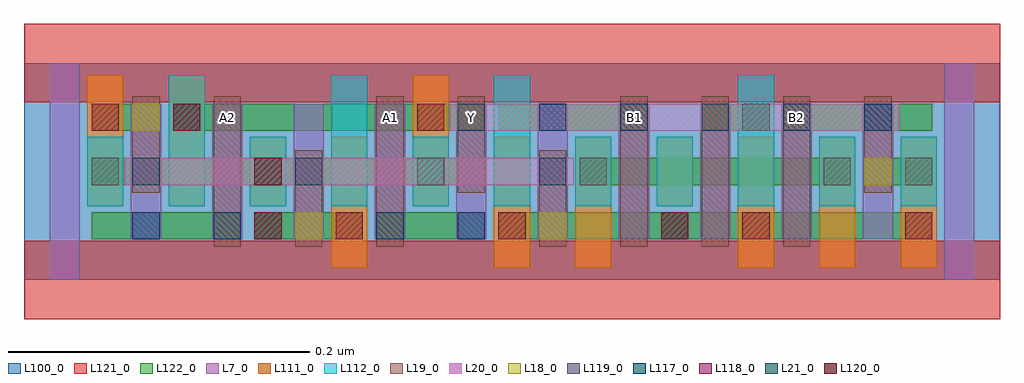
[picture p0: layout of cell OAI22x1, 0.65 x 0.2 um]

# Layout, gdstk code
import gdstk
lib = gdstk.Library(unit=1e-6, precision=2.5e-10)
def R(c, l, rs):  # rectangles x0, y0, x1, y1
    for r in rs: c.add(gdstk.rectangle(r[:2], r[2:], *l))
def A(c, l, x, y, w, h, nx, ny, dx, dy):  # array of equal rectangles
    R(c, l, [(x+i*dx, y+j*dy, x+i*dx+w, y+j*dy+h) for i in range(nx) for j in range(ny)])
L7_0 = (7, 0)
L18_0 = (18, 0)
L19_0 = (19, 0)
L20_0 = (20, 0)
L21_0 = (21, 0)
L100_0 = (100, 0)
L111_0 = (111, 0)
L112_0 = (112, 0)
L117_0 = (117, 0)
L118_0 = (118, 0)
L119_0 = (119, 0)
L120_0 = (120, 0)
L121_0 = (121, 0)
L122_0 = (122, 0)

oai22x1 = lib.new_cell('OAI22x1')
A(oai22x1, L7_0, 0.071, 0.027, 0.02, 0.09, 10, 1, 0.054, 0)
R(oai22x1, L7_0, [(0.017,0,0.037,0.144), (0.611,0,0.631,0.144)])
A(oai22x1, L18_0, 0.126, 0.027, 0.018, 0.018, 3, 1, 0.054, 0)
A(oai22x1, L18_0, 0.396, 0.099, 0.018, 0.018, 3, 1, 0.054, 0)
R(oai22x1, L18_0, [(0.342,0.027,0.36,0.045), (0.558,0.063,0.576,0.081), (0.072,0.099,0.09,0.117), (0.288,0.099,0.306,0.117)])
A(oai22x1, L19_0, 0.396, 0.022, 0.018, 0.1, 3, 1, 0.054, 0)
R(oai22x1, L19_0, [(0.126,0.022,0.144,0.122), (0.18,0.022,0.198,0.086), (0.234,0.022,0.252,0.122), (0.342,0.022,0.36,0.086), (0.072,0.058,0.09,0.122), (0.288,0.058,0.306,0.122), (0.558,0.058,0.576,0.122)])
R(oai22x1, L20_0, [(0.067,0.063,0.365,0.081), (0.283,0.099,0.581,0.117)])
R(oai22x1, L21_0, [(0.072,0.063,0.09,0.081), (0.18,0.063,0.198,0.081), (0.342,0.063,0.36,0.081), (0.288,0.099,0.306,0.117), (0.45,0.099,0.468,0.117), (0.558,0.099,0.576,0.117)])
R(oai22x1, L100_0, [(0,0,0.648,0.144)])
A(oai22x1, L111_0, 0.474, 0.008, 0.024, 0.087, 3, 1, 0.054, 0)
R(oai22x1, L111_0, [(0.204,0.008,0.228,0.095), (0.312,0.008,0.336,0.095), (0.366,0.008,0.39,0.095), (0.042,0.049,0.066,0.136), (0.096,0.049,0.12,0.136), (0.15,0.049,0.174,0.095), (0.258,0.049,0.282,0.136), (0.42,0.049,0.444,0.095)])
A(oai22x1, L112_0, 0.042, 0.049, 0.024, 0.046, 4, 1, 0.108, 0)
A(oai22x1, L112_0, 0.096, 0.049, 0.024, 0.087, 3, 1, 0.108, 0)
R(oai22x1, L112_0, [(0.42,0.049,0.444,0.095), (0.474,0.049,0.498,0.136), (0.528,0.049,0.552,0.095), (0.582,0.049,0.606,0.095)])
R(oai22x1, L117_0, [(0.072,0.027,0.09,0.045), (0.126,0.027,0.144,0.045), (0.234,0.027,0.252,0.045), (0.288,0.027,0.306,0.045), (0.342,0.099,0.36,0.117), (0.396,0.099,0.414,0.117), (0.504,0.099,0.522,0.117), (0.558,0.099,0.576,0.117)])
R(oai22x1, L118_0, [(0.207,0.027,0.225,0.045), (0.315,0.027,0.333,0.045), (0.477,0.027,0.495,0.045), (0.585,0.027,0.603,0.045), (0.045,0.099,0.063,0.117), (0.261,0.099,0.279,0.117)])
A(oai22x1, L119_0, 0.045, 0.063, 0.018, 0.018, 4, 1, 0.108, 0)
R(oai22x1, L119_0, [(0.153,0.027,0.171,0.045), (0.423,0.027,0.441,0.045), (0.531,0.063,0.549,0.081), (0.585,0.063,0.603,0.081), (0.099,0.099,0.117,0.117), (0.477,0.099,0.495,0.117)])
R(oai22x1, L120_0, [(0.153,0.027,0.171,0.045), (0.423,0.027,0.441,0.045), (0.153,0.063,0.171,0.081), (0.099,0.099,0.117,0.117)])
R(oai22x1, L121_0, [(0,-0.026,0.648,0.026), (0,0.118,0.648,0.17)])
R(oai22x1, L122_0, [(0.045,0.027,0.144,0.045), (0.153,0.027,0.225,0.045), (0.234,0.027,0.306,0.045), (0.315,0.027,0.603,0.045), (0.045,0.063,0.306,0.081), (0.369,0.063,0.549,0.081), (0.558,0.063,0.603,0.081), (0.045,0.099,0.09,0.117), (0.099,0.099,0.306,0.117), (0.315,0.099,0.414,0.117), (0.45,0.099,0.495,0.117), (0.504,0.099,0.603,0.117)])
oai22x1.add(gdstk.Label('Y', (0.297,0.108), layer=19, texttype=251))
oai22x1.add(gdstk.Label('B2', (0.513,0.108), layer=19, texttype=251))
oai22x1.add(gdstk.Label('B1', (0.405,0.108), layer=19, texttype=251))
oai22x1.add(gdstk.Label('A2', (0.135,0.108), layer=19, texttype=251))
oai22x1.add(gdstk.Label('A1', (0.243,0.108), layer=19, texttype=251))

lib.write_gds('OAI22x1.gds')
